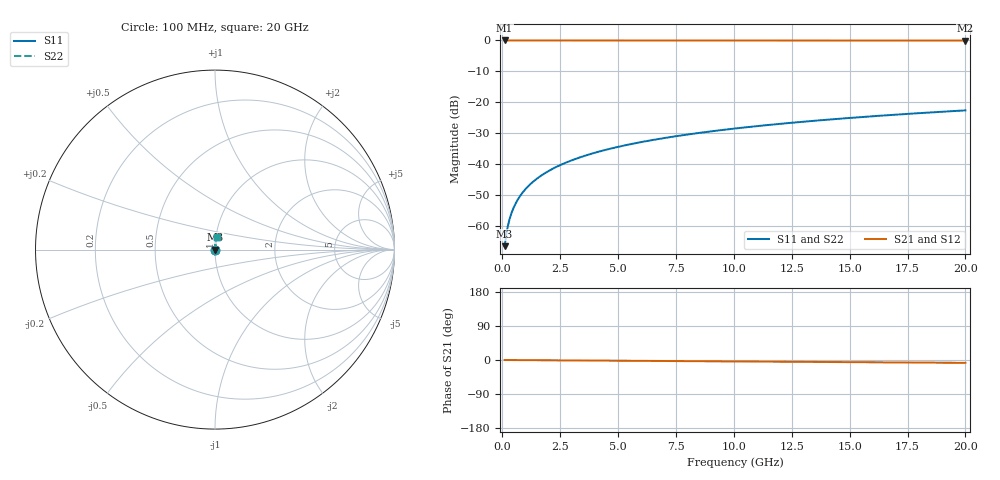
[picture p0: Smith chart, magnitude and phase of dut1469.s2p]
! Touchstone file exported from HFSS 2026.1.0
!  File:  C:/ffzhzh/LocalFiles/Ansys_Project_Files/temp_train_TSV_1469_1783198299_22436.aedt
!  Generated:  04:53:22 AM Jul  5, 2026
!  Design:  TSV
!  Project:  temp_train_TSV_1469_1783198299_22436
! Variables:
!  h_bsmrdl = 2um
!  h_ox = 20um
!  h_rdl = 5um
!  h_sub = 53.49um
!  h_tmrdl = 5um
!  h_tsv = 53.49um
!  h_via = 3um
!  l_bsmrdl = 300um
!  l_sub = 411.08um
!  l_tmrdl = 200um
!  m_sub = 200um
!  pitch = 55.04um
!  r_tsv = 5.54um
!  s_tmrdl = 10um
!  w_bsmrdl = 18um
!  w_sub = 500um
!  w_tmrdl = 12um
!  x_tsv_center1 = 206um
!  x_tsv_center2 = 524um
!  x_tsv_center3 = 736um
!  x_tsv_center4 = 1054um
!  x_tsv_center5 = 1266um
!  x_tsv_center6 = 1584um
# GHz S MA R 50.000000
! Terminal data exported
! Port[1] = TSV1_1_T1
! Port[2] = TSV1_1_T2
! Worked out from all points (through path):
!   200 points, 100 MHz to 20 GHz, reference 50 ohm
!   highest |S21| = 0.00 dB at 100 MHz (marker M1); lowest = 0.0 dB at 20 GHz (marker M2)
!   group delay of S21, straight-line fit = 1.04 ps
!   lowest |S11| = -66.6 dB at 100 MHz (marker M3), VSWR 1.00, Z = 50 + j0.0402 ohm
!   |S11| at or under -10 dB: start of sweep to end of sweep
!   |S22| runs from -66.6 to -22.7 dB; largest |S21 - S12| = 1e-15
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0.1  0.0004652 59.7  0.9998 -0.0  0.9998 -0.0  0.0004652 59.7
! Gamma 0 0 0 0
! Port Impedance 50 0 50 0
0.2  0.0008375 73.1  0.9998 -0.1  0.9998 -0.1  0.0008375 73.1
0.3  0.001224 77.9  0.9997 -0.1  0.9997 -0.1  0.001224 77.9
0.4  0.001612 80.3  0.9997 -0.2  0.9997 -0.2  0.001612 80.3
0.5  0.001998 81.7  0.9997 -0.2  0.9997 -0.2  0.001998 81.7
0.6  0.002381 82.6  0.9997 -0.2  0.9997 -0.2  0.002381 82.6
0.7  0.002763 83.3  0.9997 -0.3  0.9997 -0.3  0.002763 83.3
0.8  0.003144 83.8  0.9997 -0.3  0.9997 -0.3  0.003144 83.8
1  0.003902 84.6  0.9996 -0.4  0.9996 -0.4  0.003902 84.6
1.4  0.005416 85.4  0.9996 -0.5  0.9996 -0.5  0.005416 85.4
1.7  0.00655 85.8  0.9996 -0.7  0.9996 -0.7  0.00655 85.8
2  0.007682 86.0  0.9995 -0.8  0.9995 -0.8  0.007682 86.0
2.7  0.01032 86.2  0.9995 -1.0  0.9995 -1.0  0.01032 86.2
3.5  0.01331 86.2  0.9993 -1.3  0.9993 -1.3  0.01331 86.3
4.2  0.01592 86.2  0.9993 -1.6  0.9993 -1.6  0.01592 86.2
5  0.01889 86.0  0.9991 -1.9  0.9991 -1.9  0.01889 86.0
6.8  0.02554 85.6  0.9989 -2.6  0.9989 -2.6  0.02554 85.6
8.3  0.03106 85.2  0.9986 -3.1  0.9986 -3.1  0.03106 85.2
10.1  0.03766 84.7  0.9983 -3.8  0.9983 -3.8  0.03766 84.7
13.4  0.04973 83.7  0.9976 -5.1  0.9976 -5.1  0.04973 83.7
16.7  0.06173 82.5  0.9968 -6.3  0.9968 -6.3  0.06173 82.6
20  0.07365 81.4  0.9959 -7.5  0.9959 -7.5  0.07365 81.4
